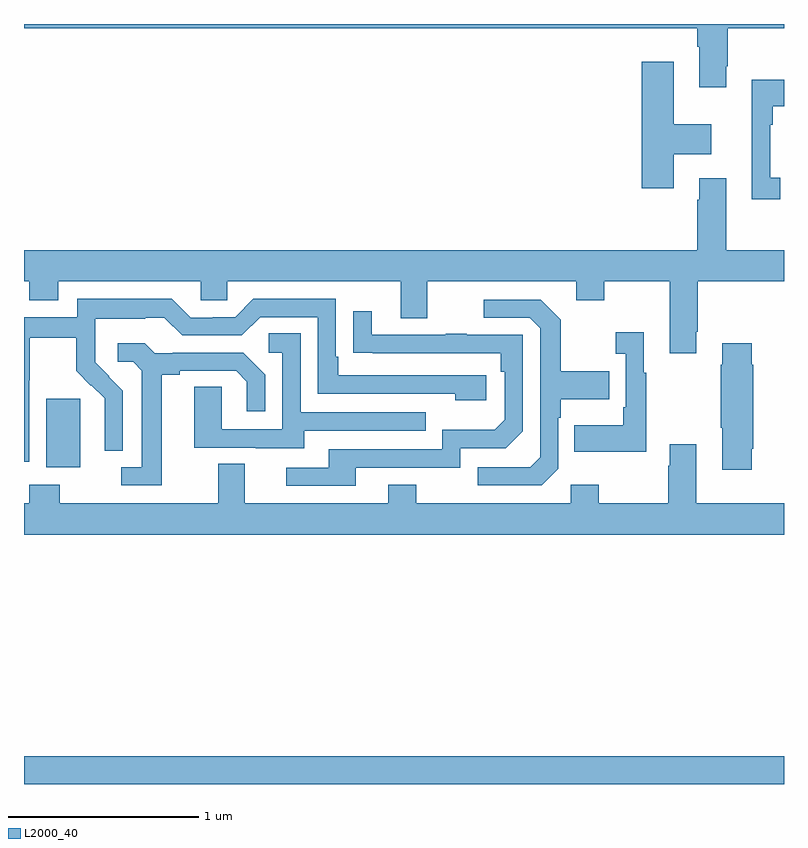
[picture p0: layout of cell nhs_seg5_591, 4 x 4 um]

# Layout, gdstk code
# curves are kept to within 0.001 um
import gdstk
lib = gdstk.Library(unit=1e-6, precision=1e-09)
def R(c, l, rs):  # rectangles x0, y0, x1, y1
    for r in rs: c.add(gdstk.rectangle(r[:2], r[2:], *l))
def P(c, l, *ps):  # polygons
    for p in ps: c.add(gdstk.Polygon(p, *l))
L2000_40 = (2000, 40)

nhs_seg5_591 = lib.new_cell('nhs_seg5_591')
R(nhs_seg5_591, L2000_40, [(149,836.799,153,836.944), (149.117,838.466,149.296,838.827)])
P(nhs_seg5_591, L2000_40, [(152.695,840.577),(152.703,840.577),(152.703,840.776),(153,840.776),(153,840.799),(149,840.799),(149,840.776),(152.543,840.776),(152.543,840.68),(152.555,840.68),(152.555,840.465),(152.695,840.465)],
  [(152.419,840.113),(152.617,840.113),(152.617,840.271),(152.419,840.271),(152.419,840.601),(152.252,840.601),(152.252,839.934),(152.419,839.934)],
  [(152.98,839.99),(152.928,839.99),(152.928,840.269),(152.941,840.269),(152.941,840.365),(153,840.365),(153,840.505),(152.831,840.505),(152.831,839.877),(152.98,839.877)],
  [(149,839.444),(149.027,839.444),(149.027,839.345),(149.179,839.345),(149.179,839.444),(149.931,839.444),(149.931,839.346),(150.069,839.346),(150.069,839.444),(150.983,839.444),(150.983,839.25),(151.123,839.25),(151.123,839.444),(151.907,839.444),(151.907,839.345),(152.055,839.345),(152.055,839.444),(152.399,839.444),(152.399,839.067),(152.539,839.067),(152.539,839.179),(152.547,839.179),(152.547,839.444),(153,839.444),(153,839.608),(152.695,839.608),(152.695,839.986),(152.555,839.986),(152.555,839.873),(152.543,839.873),(152.543,839.608),(149,839.608)],
  [(149.028,838.924),(149.031,838.924),(149.031,839.148),(149.275,839.148),(149.275,838.973),(149.352,838.896),(149.355,838.899),(149.426,838.829),(149.426,838.706),(149.424,838.706),(149.424,838.552),(149.52,838.552),(149.52,838.87),(149.374,839.018),(149.374,839.115),(149.376,839.115),(149.376,839.249),(149.639,839.249),(149.639,839.253),(149.739,839.253),(149.832,839.16),(150.147,839.16),(150.243,839.256),(150.546,839.256),(150.546,838.854),(151.271,838.854),(151.271,838.82),(151.432,838.82),(151.432,838.95),(150.655,838.95),(150.655,839.047),(150.642,839.047),(150.642,839.352),(150.207,839.352),(150.111,839.256),(149.993,839.256),(149.993,839.253),(149.877,839.253),(149.777,839.353),(149.28,839.353),(149.28,839.256),(149,839.256),(149,838.495),(149.028,838.495)],
  [(151.812,838.458),(151.812,838.727),(151.825,838.727),(151.825,838.823),(152.081,838.823),(152.081,838.971),(151.825,838.971),(151.825,839.243),(151.719,839.349),(151.419,839.349),(151.419,839.253),(151.662,839.253),(151.716,839.199),(151.716,838.518),(151.665,838.467),(151.389,838.467),(151.389,838.371),(151.725,838.371)],
  [(150.745,838.464),(151.296,838.464),(151.296,838.566),(151.536,838.566),(151.626,838.656),(151.626,839.163),(151.331,839.163),(151.331,839.168),(151.219,839.168),(151.219,839.163),(150.829,839.163),(150.829,839.287),(150.733,839.287),(150.733,839.068),(151.51,839.067),(151.51,838.97),(151.53,838.97),(151.53,838.716),(151.477,838.663),(151.2,838.663),(151.2,838.56),(150.605,838.56),(150.605,838.464),(150.381,838.464),(150.381,838.368),(150.745,838.368)],
  [(152.275,838.963),(152.263,838.963),(152.263,839.176),(152.115,839.176),(152.115,839.063),(152.166,839.063),(152.166,838.783),(152.154,838.783),(152.154,838.687),(151.897,838.687),(151.897,838.547),(152.275,838.547)],
  [(150.475,838.659),(151.115,838.659),(151.115,838.755),(150.456,838.755),(150.456,839.171),(150.288,839.171),(150.288,839.07),(150.36,839.07),(150.36,838.665),(150.042,838.665),(150.042,838.889),(149.897,838.889),(149.897,838.569),(150.221,838.569),(150.221,838.565),(150.475,838.565)],
  [(152.83,838.564),(152.838,838.564),(152.838,839.006),(152.83,839.006),(152.83,839.119),(152.675,839.119),(152.675,839.006),(152.668,839.006),(152.668,838.675),(152.675,838.675),(152.675,838.452),(152.83,838.452)],
  [(149.725,838.952),(149.821,838.952),(149.821,838.974),(150.116,838.974),(150.173,838.917),(150.173,838.761),(150.27,838.761),(150.27,838.954),(150.154,839.07),(149.782,839.07),(149.782,839.067),(149.688,839.067),(149.636,839.119),(149.493,839.119),(149.493,839.022),(149.574,839.022),(149.621,838.975),(149.621,838.467),(149.511,838.467),(149.511,838.371),(149.725,838.371)],
  [(153,838.276),(152.539,838.276),(152.539,838.588),(152.399,838.588),(152.399,838.475),(152.392,838.475),(152.392,838.276),(152.025,838.276),(152.025,838.375),(151.878,838.375),(151.878,838.276),(151.065,838.276),(151.065,838.375),(150.917,838.375),(150.917,838.276),(150.163,838.276),(150.163,838.484),(150.023,838.484),(150.023,838.276),(149.187,838.276),(149.187,838.375),(149.027,838.375),(149.027,838.276),(149,838.276),(149,838.112),(153,838.112)])

lib.write_gds('nhs_seg5_591.gds')
